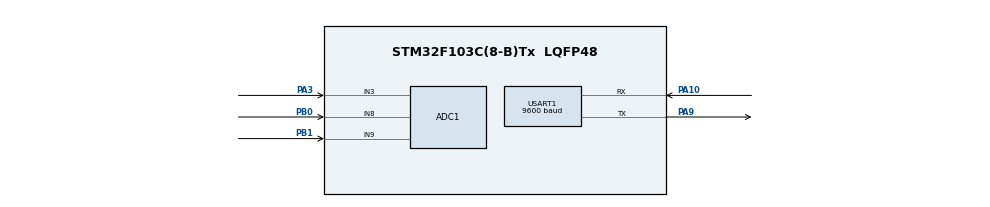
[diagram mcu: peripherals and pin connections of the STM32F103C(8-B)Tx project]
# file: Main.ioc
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ADC1.Channel-1\#ChannelRegularConversion=ADC_CHANNEL_3
ADC1.Channel-2\#ChannelRegularConversion=ADC_CHANNEL_8
ADC1.Channel-3\#ChannelRegularConversion=ADC_CHANNEL_9
ADC1.ContinuousConvMode=DISABLE
ADC1.NbrOfConversion=3
ADC1.NbrOfConversionFlag=1
ADC1.Rank-1\#ChannelRegularConversion=1
ADC1.Rank-2\#ChannelRegularConversion=2
ADC1.Rank-3\#ChannelRegularConversion=3
ADC1.SamplingTime-1\#ChannelRegularConversion=ADC_SAMPLETIME_239CYCLES_5
ADC1.SamplingTime-2\#ChannelRegularConversion=ADC_SAMPLETIME_239CYCLES_5
ADC1.SamplingTime-3\#ChannelRegularConversion=ADC_SAMPLETIME_239CYCLES_5
ADC1.master=1
Mcu.Family=STM32F1
Mcu.Name=STM32F103C(8-B)Tx
Mcu.Package=LQFP48
NVIC.PriorityGroup=NVIC_PRIORITYGROUP_4
PA10.Mode=Asynchronous
PA10.Signal=USART1_RX
PA13.Mode=Serial_Wire
PA13.Signal=SYS_JTMS-SWDIO
PA14.Mode=Serial_Wire
PA14.Signal=SYS_JTCK-SWCLK
PA3.Signal=ADCx_IN3
PA9.Mode=Asynchronous
PA9.Signal=USART1_TX
PB0.Signal=ADCx_IN8
PB1.Signal=ADCx_IN9
ProjectManager.HeapSize=0x200
ProjectManager.StackSize=0x400
ProjectManager.TargetToolchain=MDK-ARM V5.32
RCC.APB1Freq_Value=8000000
RCC.APB2Freq_Value=8000000
SH.ADCx_IN3.0=ADC1_IN3,IN3
SH.ADCx_IN8.0=ADC1_IN8,IN8
SH.ADCx_IN9.0=ADC1_IN9,IN9
USART1.BaudRate=9600
USART1.Mode=MODE_TX_RX
USART1.VirtualMode=VM_ASYNC
board=custom

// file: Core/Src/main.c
/* USER CODE BEGIN Header */
/**
  ******************************************************************************
  * @file           : main.c
  * @brief          : Main program body
  ******************************************************************************
  * @attention
  *
  * <h2><center>&copy; Copyright (c) 2021 STMicroelectronics.
  * All rights reserved.</center></h2>
  *
  * This software component is licensed by ST under BSD 3-Clause license,
  * the "License"; You may not use this file except in compliance with the
  * License. You may obtain a copy of the License at:
  *                        opensource.org/licenses/BSD-3-Clause
  *
  ******************************************************************************
  */
/* USER CODE END Header */
#include "main.h"

/* USER CODE BEGIN Includes */
#include "stdio.h"
#include "stm32f1xx_ll_usart_put.h"
/* USER CODE END Includes */

/* USER CODE BEGIN PV */
uint16_t adc_value;			//Define variable adc_value
/* USER CODE END PV */

void SystemClock_Config(void);
static void MX_GPIO_Init(void);
static void MX_ADC1_Init(void);
static void MX_USART1_UART_Init(void);

int main(void)
{
  /* USER CODE BEGIN 1 */

float voltage;				//variable for representing voltage
uint8_t str[21];			//string for representing message
uint8_t i = 0;

uint16_t adc_value1=0;
uint16_t adc_value2=0;
uint16_t adc_value3=0;

float adc_in1=0;
float adc_in2=0;
float adc_in3=0;

  /* USER CODE END 1 */

  /* MCU Configuration--------------------------------------------------------*/

  /* Reset of all peripherals, Initializes the Flash interface and the Systick. */
  LL_APB2_GRP1_EnableClock(LL_APB2_GRP1_PERIPH_AFIO);
  LL_APB1_GRP1_EnableClock(LL_APB1_GRP1_PERIPH_PWR);

  /* System interrupt init*/
  NVIC_SetPriorityGrouping(NVIC_PRIORITYGROUP_4);

  /** NOJTAG: JTAG-DP Disabled and SW-DP Enabled
  */
  LL_GPIO_AF_Remap_SWJ_NOJTAG();

  /* Configure the system clock */
  SystemClock_Config();

  /* Initialize all configured peripherals */
  MX_GPIO_Init();
  MX_ADC1_Init();
  MX_USART1_UART_Init();
  /* USER CODE BEGIN 2 */

	LL_ADC_Enable(ADC1);
	LL_mDelay(1);
	LL_ADC_Enable(ADC1);
	while (!LL_ADC_IsEnabled(ADC1));

	LL_ADC_DisableIT_EOS(ADC1);
	LL_ADC_StartCalibration(ADC1); 				//Calibration start
	while(LL_ADC_IsCalibrationOnGoing(ADC1))	//Wait till the calibration is finished
		__NOP();
	//LL_ADC_REG_StartConversionSWStart(ADC1);	//Start the conversion
  /* USER CODE END 2 */

  /* Infinite loop */
  /* USER CODE BEGIN WHILE */
	LL_USART_TransmitData8(USART1, 13); LL_mDelay(1);
	LL_USART_TransmitData8(USART1, 10); LL_mDelay(1);

  while(1){
    /* USER CODE END WHILE */

    /* USER CODE BEGIN 3 */
    LL_ADC_REG_StartConversionSWStart(ADC1);
		USART_PutStringFromFlash(USART1, "LL_ADC_REG_StartConversionSWStart");
//		while (!LL_ADC_IsActiveFlag_EOS(ADC1));
//		adc_value1 = LL_ADC_REG_ReadConversionData12(ADC1);
//		adc_value2 = LL_ADC_REG_ReadConversionData12(ADC1);
//		adc_value3 = LL_ADC_REG_ReadConversionData12(ADC1);
//		LL_ADC_ClearFlag_EOS(ADC1);

		while (!LL_ADC_IsActiveFlag_EOS(ADC1));
		adc_value1 = LL_ADC_REG_ReadConversionData12(ADC1);
		LL_ADC_ClearFlag_EOS(ADC1);
		USART_PutStringFromFlash(USART1, "R1");

		while (!LL_ADC_IsActiveFlag_EOS(ADC1));
		adc_value2 = LL_ADC_REG_ReadConversionData12(ADC1);
		LL_ADC_ClearFlag_EOS(ADC1);
		USART_PutStringFromFlash(USART1, "R2");

		while (!LL_ADC_IsActiveFlag_EOS(ADC1));
		adc_value3 = LL_ADC_REG_ReadConversionData12(ADC1);
		LL_ADC_ClearFlag_EOS(ADC1);
		USART_PutStringFromFlash(USART1, "R3");

		adc_in1 = (float)(adc_value1 * 3.3) / (4095);
		adc_in2 = (float)(adc_value2 * 3.3) / (4095);
		adc_in3 = (float)(adc_value3 * 3.3) / (4095);

		sprintf((char*)str, "CH3: %0.3f\r\n", adc_in1);
		for(i=0; i<19; i++){
			LL_USART_TransmitData8(USART1, str[i]);
			while(!LL_USART_IsActiveFlag_TXE(USART1));
		}
		i = 0;

		sprintf((char*)str, "CH8: %0.3f\r\n", adc_in2);
		for(i=0; i<19; i++){
			LL_USART_TransmitData8(USART1, str[i]);
			while(!LL_USART_IsActiveFlag_TXE(USART1));
		}
		i = 0;

		sprintf((char*)str, "CH9: %0.3f\r\n", adc_in3);
		for(i=0; i<19; i++){
			LL_USART_TransmitData8(USART1, str[i]);
			while(!LL_USART_IsActiveFlag_TXE(USART1));
		}
		i = 0;

		LL_mDelay(500);
  }
  /* USER CODE END 3 */
}

void SystemClock_Config(void)
{
  LL_FLASH_SetLatency(LL_FLASH_LATENCY_0);
  while(LL_FLASH_GetLatency()!= LL_FLASH_LATENCY_0)
  {
  }
  LL_RCC_HSI_SetCalibTrimming(16);
  LL_RCC_HSI_Enable();

   /* Wait till HSI is ready */
  while(LL_RCC_HSI_IsReady() != 1)
  {

  }
  LL_RCC_SetAHBPrescaler(LL_RCC_SYSCLK_DIV_1);
  LL_RCC_SetAPB1Prescaler(LL_RCC_APB1_DIV_1);
  LL_RCC_SetAPB2Prescaler(LL_RCC_APB2_DIV_1);
  LL_RCC_SetSysClkSource(LL_RCC_SYS_CLKSOURCE_HSI);

   /* Wait till System clock is ready */
  while(LL_RCC_GetSysClkSource() != LL_RCC_SYS_CLKSOURCE_STATUS_HSI)
  {

  }
  LL_Init1msTick(8000000);
  LL_SetSystemCoreClock(8000000);
  LL_RCC_SetADCClockSource(LL_RCC_ADC_CLKSRC_PCLK2_DIV_2);
}

static void MX_ADC1_Init(void)
{

  LL_ADC_InitTypeDef ADC_InitStruct = {0};
  LL_ADC_CommonInitTypeDef ADC_CommonInitStruct = {0};
  LL_ADC_REG_InitTypeDef ADC_REG_InitStruct = {0};

  LL_GPIO_InitTypeDef GPIO_InitStruct = {0};

  /* Peripheral clock enable */
  LL_APB2_GRP1_EnableClock(LL_APB2_GRP1_PERIPH_ADC1);

  LL_APB2_GRP1_EnableClock(LL_APB2_GRP1_PERIPH_GPIOA);
  LL_APB2_GRP1_EnableClock(LL_APB2_GRP1_PERIPH_GPIOB);
  /**ADC1 GPIO Configuration
  PA3   ------> ADC1_IN3
  PB0   ------> ADC1_IN8
  PB1   ------> ADC1_IN9
  */
  GPIO_InitStruct.Pin = LL_GPIO_PIN_3;
  GPIO_InitStruct.Mode = LL_GPIO_MODE_ANALOG;
  LL_GPIO_Init(GPIOA, &GPIO_InitStruct);

  GPIO_InitStruct.Pin = LL_GPIO_PIN_0|LL_GPIO_PIN_1;
  GPIO_InitStruct.Mode = LL_GPIO_MODE_ANALOG;
  LL_GPIO_Init(GPIOB, &GPIO_InitStruct);

  /** Common config
  */
  ADC_InitStruct.DataAlignment = LL_ADC_DATA_ALIGN_RIGHT;
  ADC_InitStruct.SequencersScanMode = LL_ADC_SEQ_SCAN_ENABLE;
  LL_ADC_Init(ADC1, &ADC_InitStruct);
  ADC_CommonInitStruct.Multimode = LL_ADC_MULTI_INDEPENDENT;
  LL_ADC_CommonInit(__LL_ADC_COMMON_INSTANCE(ADC1), &ADC_CommonInitStruct);
  ADC_REG_InitStruct.TriggerSource = LL_ADC_REG_TRIG_SOFTWARE;
  ADC_REG_InitStruct.SequencerLength = LL_ADC_REG_SEQ_SCAN_ENABLE_3RANKS;
  ADC_REG_InitStruct.SequencerDiscont = LL_ADC_REG_SEQ_DISCONT_DISABLE;
  ADC_REG_InitStruct.ContinuousMode = LL_ADC_REG_CONV_SINGLE;
  ADC_REG_InitStruct.DMATransfer = LL_ADC_REG_DMA_TRANSFER_NONE;
  LL_ADC_REG_Init(ADC1, &ADC_REG_InitStruct);

  /** Configure Regular Channel
  */
  LL_ADC_REG_SetSequencerRanks(ADC1, LL_ADC_REG_RANK_1, LL_ADC_CHANNEL_3);
  LL_ADC_SetChannelSamplingTime(ADC1, LL_ADC_CHANNEL_3, LL_ADC_SAMPLINGTIME_239CYCLES_5);

  /** Configure Regular Channel
  */
  LL_ADC_REG_SetSequencerRanks(ADC1, LL_ADC_REG_RANK_2, LL_ADC_CHANNEL_8);
  LL_ADC_SetChannelSamplingTime(ADC1, LL_ADC_CHANNEL_8, LL_ADC_SAMPLINGTIME_239CYCLES_5);

  /** Configure Regular Channel
  */
  LL_ADC_REG_SetSequencerRanks(ADC1, LL_ADC_REG_RANK_3, LL_ADC_CHANNEL_9);
  LL_ADC_SetChannelSamplingTime(ADC1, LL_ADC_CHANNEL_9, LL_ADC_SAMPLINGTIME_239CYCLES_5);

}

static void MX_USART1_UART_Init(void)
{

  LL_USART_InitTypeDef USART_InitStruct = {0};

  LL_GPIO_InitTypeDef GPIO_InitStruct = {0};

  /* Peripheral clock enable */
  LL_APB2_GRP1_EnableClock(LL_APB2_GRP1_PERIPH_USART1);

  LL_APB2_GRP1_EnableClock(LL_APB2_GRP1_PERIPH_GPIOA);
  /**USART1 GPIO Configuration
  PA9   ------> USART1_TX
  PA10   ------> USART1_RX
  */
  GPIO_InitStruct.Pin = LL_GPIO_PIN_9;
  GPIO_InitStruct.Mode = LL_GPIO_MODE_ALTERNATE;
  GPIO_InitStruct.Speed = LL_GPIO_SPEED_FREQ_HIGH;
  GPIO_InitStruct.OutputType = LL_GPIO_OUTPUT_PUSHPULL;
  LL_GPIO_Init(GPIOA, &GPIO_InitStruct);

  GPIO_InitStruct.Pin = LL_GPIO_PIN_10;
  GPIO_InitStruct.Mode = LL_GPIO_MODE_FLOATING;
  LL_GPIO_Init(GPIOA, &GPIO_InitStruct);

  USART_InitStruct.BaudRate = 9600;
  USART_InitStruct.DataWidth = LL_USART_DATAWIDTH_8B;
  USART_InitStruct.StopBits = LL_USART_STOPBITS_1;
  USART_InitStruct.Parity = LL_USART_PARITY_NONE;
  USART_InitStruct.TransferDirection = LL_USART_DIRECTION_TX_RX;
  USART_InitStruct.HardwareFlowControl = LL_USART_HWCONTROL_NONE;
  USART_InitStruct.OverSampling = LL_USART_OVERSAMPLING_16;
  LL_USART_Init(USART1, &USART_InitStruct);
  LL_USART_ConfigAsyncMode(USART1);
  LL_USART_Enable(USART1);

}

static void MX_GPIO_Init(void)
{

  /* GPIO Ports Clock Enable */
  LL_APB2_GRP1_EnableClock(LL_APB2_GRP1_PERIPH_GPIOA);
  LL_APB2_GRP1_EnableClock(LL_APB2_GRP1_PERIPH_GPIOB);

}

/* USER CODE BEGIN 4 */
static void MX_ADC1_Init2(void){
		LL_APB2_GRP1_EnableClock(LL_APB2_GRP1_PERIPH_ADC1);

    LL_ADC_SetDataAlignment(ADC1, LL_ADC_DATA_ALIGN_RIGHT);
    LL_ADC_REG_SetSequencerLength(ADC1, LL_ADC_REG_SEQ_SCAN_ENABLE_3RANKS);
    LL_ADC_REG_SetSequencerRanks(ADC1, LL_ADC_REG_RANK_1, LL_ADC_CHANNEL_3);
    LL_ADC_REG_SetSequencerRanks(ADC1, LL_ADC_REG_RANK_2, LL_ADC_CHANNEL_8);
    LL_ADC_REG_SetSequencerRanks(ADC1, LL_ADC_REG_RANK_3, LL_ADC_CHANNEL_9);
    LL_ADC_SetChannelSamplingTime(ADC1, LL_ADC_CHANNEL_3, LL_ADC_SAMPLINGTIME_71CYCLES_5);
    LL_ADC_SetChannelSamplingTime(ADC1, LL_ADC_CHANNEL_8, LL_ADC_SAMPLINGTIME_71CYCLES_5);
    LL_ADC_SetChannelSamplingTime(ADC1, LL_ADC_CHANNEL_9, LL_ADC_SAMPLINGTIME_71CYCLES_5);

    LL_ADC_Enable(ADC1);
    while (!LL_ADC_IsEnabled(ADC1));
}
/* USER CODE END 4 */

void Error_Handler(void)
{
}
